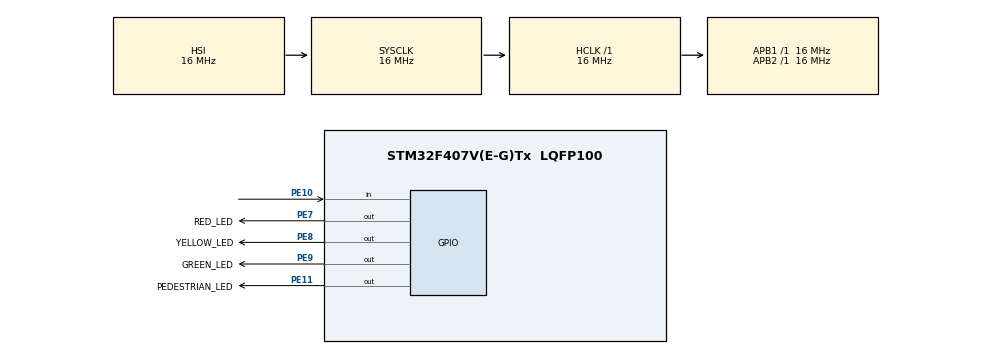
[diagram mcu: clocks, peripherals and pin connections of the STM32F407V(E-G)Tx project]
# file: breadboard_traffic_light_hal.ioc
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Mcu.Family=STM32F4
Mcu.Name=STM32F407V(E-G)Tx
Mcu.Package=LQFP100
NVIC.PriorityGroup=NVIC_PRIORITYGROUP_4
PA13.Mode=Serial_Wire
PA13.Signal=SYS_JTMS-SWDIO
PA14.Mode=Serial_Wire
PA14.Signal=SYS_JTCK-SWCLK
PE10.GPIO_PuPd=GPIO_PULLUP
PE10.Signal=GPIO_Input
PE11.GPIO_Label=PEDESTRIAN_LED
PE11.Signal=GPIO_Output
PE7.GPIO_Label=RED_LED
PE7.Signal=GPIO_Output
PE8.GPIO_Label=YELLOW_LED
PE8.Signal=GPIO_Output
PE9.GPIO_Label=GREEN_LED
PE9.Signal=GPIO_Output
ProjectManager.HeapSize=0x200
ProjectManager.StackSize=0x400
ProjectManager.TargetToolchain=STM32CubeIDE
RCC.AHBFreq_Value=16000000
RCC.APB1Freq_Value=16000000
RCC.APB2Freq_Value=16000000
RCC.CortexFreq_Value=16000000
RCC.HSE_VALUE=25000000
RCC.HSI_VALUE=16000000
RCC.LSE_VALUE=32768
RCC.SYSCLKFreq_VALUE=16000000
RCC.VCOOutputFreq_Value=192000000
board=custom

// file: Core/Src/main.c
/* USER CODE BEGIN Header */
/**
  ******************************************************************************
  * @file           : main.c
  * @author         : Pedro Valle-Cruz
  * @brief          : Nonblocking HAL traffic light with debounced pedestrian
  *                   requests and a steady/blinking crossing indicator.
  ******************************************************************************
  * @attention
  *
  * Copyright (c) 2026 STMicroelectronics.
  * All rights reserved.
  *
  * This software is licensed under terms that can be found in the LICENSE file
  * in the root directory of this software component.
  * If no LICENSE file comes with this software, it is provided AS-IS.
  *
  ******************************************************************************
  */
/* USER CODE END Header */

#include "main.h"

/* USER CODE BEGIN PTD */
typedef enum {
  TRAFFIC_RED,
  TRAFFIC_GREEN,
  TRAFFIC_YELLOW
} traffic_state_t;
/* USER CODE END PTD */

void SystemClock_Config(void);
static void MX_GPIO_Init(void);

int main(void)
{

  HAL_Init();

  SystemClock_Config();

  MX_GPIO_Init();
  /* USER CODE BEGIN 2 */
  traffic_state_t state = TRAFFIC_RED;
  uint32_t state_started = HAL_GetTick();
  /* Seed from the input: holding at startup is not a new press. */
  GPIO_PinState button_raw = HAL_GPIO_ReadPin(GPIOE, GPIO_PIN_10);
  GPIO_PinState button_stable = button_raw;
  uint32_t button_changed_at = HAL_GetTick();
  unsigned int pedestrian_requested = 0U;
  uint32_t pedestrian_last_toggle = HAL_GetTick();

  HAL_GPIO_WritePin(GPIOE, RED_LED_Pin, GPIO_PIN_SET);
  /* USER CODE END 2 */

  while (1)
  {

    /* USER CODE BEGIN 3 */
    /* Unsigned elapsed-time subtraction tolerates tick wraparound. */
    uint32_t now = HAL_GetTick();
    GPIO_PinState button_sample = HAL_GPIO_ReadPin(GPIOE, GPIO_PIN_10);

    /* Each raw edge restarts the 20 ms stability interval. */
    if (button_sample != button_raw) {
      button_raw = button_sample;
      button_changed_at = now;
    }

    if ((button_raw != button_stable) &&
        ((now - button_changed_at) >= 20U)) {
      button_stable = button_raw;
      /* Accept only a new press during green; repeated requests coalesce. */
      if ((button_stable == GPIO_PIN_RESET) && (state == TRAFFIC_GREEN)) {
        pedestrian_requested = 1U;
      }
    }

    switch (state) {
    case TRAFFIC_RED:
      if ((now - state_started) >= 10000U) {
        HAL_GPIO_WritePin(GPIOE, RED_LED_Pin, GPIO_PIN_RESET);
        HAL_GPIO_WritePin(GPIOE, PEDESTRIAN_LED_Pin, GPIO_PIN_RESET);
        /* Finish the crossing before enabling green. */
        pedestrian_requested = 0U;
        HAL_GPIO_WritePin(GPIOE, GREEN_LED_Pin, GPIO_PIN_SET);
        state = TRAFFIC_GREEN;
        state_started = now;
      } else if ((pedestrian_requested == 1U) &&
                 ((now - state_started) >= 8000U)) {
        /* First toggle at 8 s of red; subsequent toggles every 250 ms. */
        if ((now - pedestrian_last_toggle) >= 250U) {
          HAL_GPIO_TogglePin(GPIOE, PEDESTRIAN_LED_Pin);
          pedestrian_last_toggle = now;
        }
      }
      break;

    case TRAFFIC_GREEN:
      /* A request shortens green, but never below two seconds total. */
      if (((now - state_started) >= 10000U) ||
          ((pedestrian_requested == 1U) &&
           ((now - state_started) >= 2000U))) {
        HAL_GPIO_WritePin(GPIOE, GREEN_LED_Pin, GPIO_PIN_RESET);
        HAL_GPIO_WritePin(GPIOE, YELLOW_LED_Pin, GPIO_PIN_SET);
        state = TRAFFIC_YELLOW;
        state_started = now;
      }
      break;

    case TRAFFIC_YELLOW:
      if ((now - state_started) >= 5000U) {
        HAL_GPIO_WritePin(GPIOE, YELLOW_LED_Pin, GPIO_PIN_RESET);
        HAL_GPIO_WritePin(GPIOE, RED_LED_Pin, GPIO_PIN_SET);
        if (pedestrian_requested == 1U) {
          HAL_GPIO_WritePin(GPIOE, PEDESTRIAN_LED_Pin, GPIO_PIN_SET);
        }
        state = TRAFFIC_RED;
        state_started = now;
        pedestrian_last_toggle = now;
      }
      break;
    }
  }
  /* USER CODE END 3 */
}

/* Nominal 16 MHz HSI; AHB and APB clocks remain undivided. */
void SystemClock_Config(void)
{
  RCC_OscInitTypeDef RCC_OscInitStruct = {0};
  RCC_ClkInitTypeDef RCC_ClkInitStruct = {0};

  __HAL_RCC_PWR_CLK_ENABLE();
  __HAL_PWR_VOLTAGESCALING_CONFIG(PWR_REGULATOR_VOLTAGE_SCALE1);

  RCC_OscInitStruct.OscillatorType = RCC_OSCILLATORTYPE_HSI;
  RCC_OscInitStruct.HSIState = RCC_HSI_ON;
  RCC_OscInitStruct.HSICalibrationValue = RCC_HSICALIBRATION_DEFAULT;
  RCC_OscInitStruct.PLL.PLLState = RCC_PLL_NONE;
  if (HAL_RCC_OscConfig(&RCC_OscInitStruct) != HAL_OK)
  {
    Error_Handler();
  }

  RCC_ClkInitStruct.ClockType = RCC_CLOCKTYPE_HCLK|RCC_CLOCKTYPE_SYSCLK
                              |RCC_CLOCKTYPE_PCLK1|RCC_CLOCKTYPE_PCLK2;
  RCC_ClkInitStruct.SYSCLKSource = RCC_SYSCLKSOURCE_HSI;
  RCC_ClkInitStruct.AHBCLKDivider = RCC_SYSCLK_DIV1;
  RCC_ClkInitStruct.APB1CLKDivider = RCC_HCLK_DIV1;
  RCC_ClkInitStruct.APB2CLKDivider = RCC_HCLK_DIV1;

  if (HAL_RCC_ClockConfig(&RCC_ClkInitStruct, FLASH_LATENCY_0) != HAL_OK)
  {
    Error_Handler();
  }
}

/* Active-high LED outputs and an active-low PE10 button with pull-up. */
static void MX_GPIO_Init(void)
{
  GPIO_InitTypeDef GPIO_InitStruct = {0};

  __HAL_RCC_GPIOE_CLK_ENABLE();
  __HAL_RCC_GPIOA_CLK_ENABLE();

  HAL_GPIO_WritePin(GPIOE, RED_LED_Pin|YELLOW_LED_Pin|GREEN_LED_Pin|PEDESTRIAN_LED_Pin, GPIO_PIN_RESET);

  GPIO_InitStruct.Pin = RED_LED_Pin|YELLOW_LED_Pin|GREEN_LED_Pin|PEDESTRIAN_LED_Pin;
  GPIO_InitStruct.Mode = GPIO_MODE_OUTPUT_PP;
  GPIO_InitStruct.Pull = GPIO_NOPULL;
  GPIO_InitStruct.Speed = GPIO_SPEED_FREQ_LOW;
  HAL_GPIO_Init(GPIOE, &GPIO_InitStruct);

  GPIO_InitStruct.Pin = GPIO_PIN_10;
  GPIO_InitStruct.Mode = GPIO_MODE_INPUT;
  GPIO_InitStruct.Pull = GPIO_PULLUP;
  HAL_GPIO_Init(GPIOE, &GPIO_InitStruct);

}

void Error_Handler(void)
{
  __disable_irq();
  while (1)
  {
  }
}
